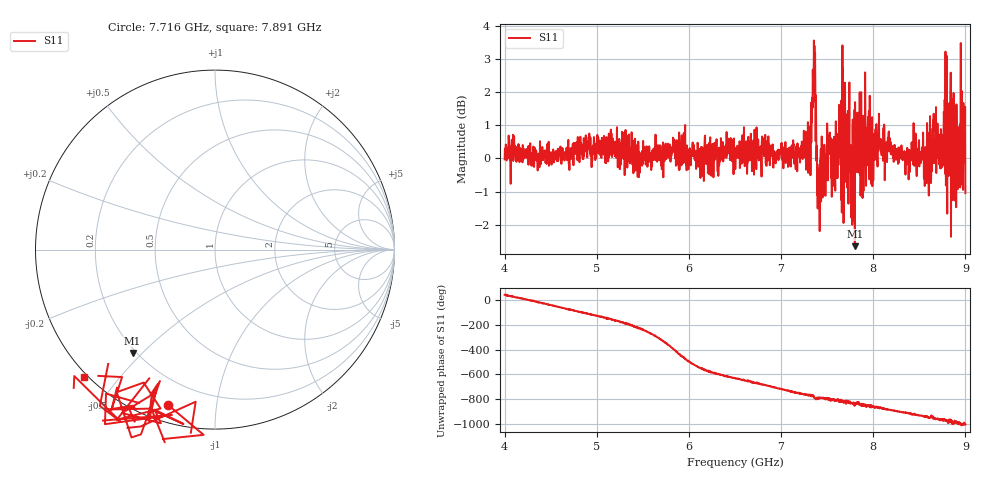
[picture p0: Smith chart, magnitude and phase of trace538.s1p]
! Created with skrf 1.8.0 (http://scikit-rf.org).
# Hz S RI R 50.0
!freq ReS11 ImS11
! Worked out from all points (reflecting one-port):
!   1601 points, 4 GHz to 9 GHz, reference 50 ohm
!   lowest |S11| = -2.7 dB at 7.8 GHz (marker M1), VSWR 6.61, Z = 9.28 - j23.4 ohm
!   phase of S11 starts at 46 deg and turns -1053 deg over the sweep
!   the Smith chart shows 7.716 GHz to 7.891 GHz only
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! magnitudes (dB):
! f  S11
! 4 GHz  0.0
! 4.625 GHz  0.0
! 5.25 GHz  -0.3
! 5.875 GHz  0.0
! 6.5 GHz  0.2
! 7.125 GHz  0.1
! 7.294 GHz  -0.4
! 7.356 GHz  3.6
! 7.412 GHz  -1.4
! 7.519 GHz  0.2
! 7.603 GHz  -0.1
! 7.647 GHz  0.3
! 7.75 GHz  -0.4
! 7.775 GHz  0.9
! 7.8 GHz  -2.7
! 7.828 GHz  1.4
! 7.872 GHz  0.8
! 7.928 GHz  0.9
! 7.981 GHz  -0.8
! 8.05 GHz  0.6
! 8.375 GHz  -0.1
! 8.441 GHz  -0.1
! 8.581 GHz  -0.2
! 8.788 GHz  -0.8
! 8.869 GHz  -0.6
! 8.956 GHz  0.4
! 8.972 GHz  0.2
! 9 GHz  -1.0
